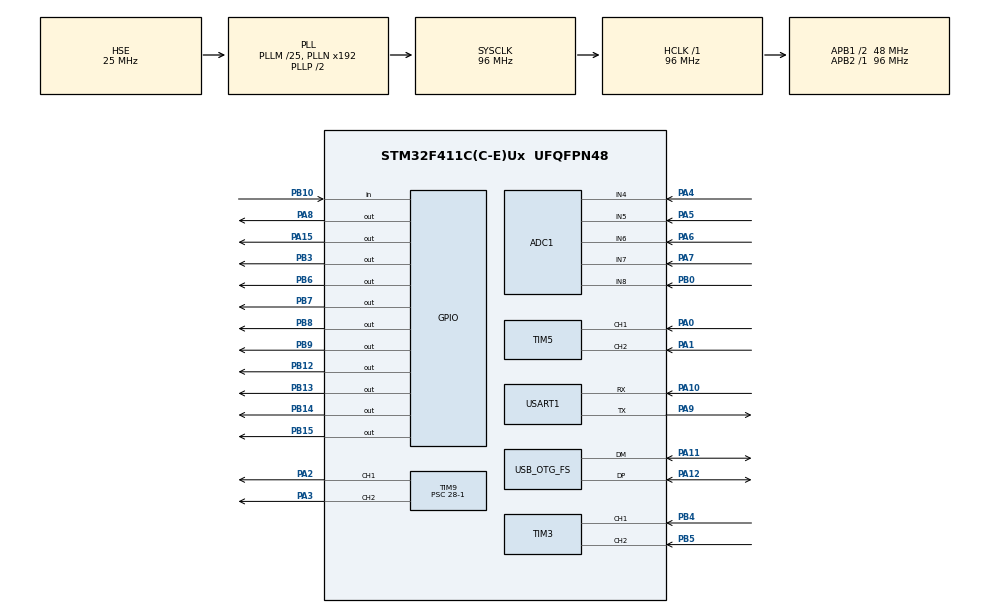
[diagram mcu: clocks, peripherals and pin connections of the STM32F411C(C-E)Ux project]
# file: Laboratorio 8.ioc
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ADC1.Channel-1\#ChannelRegularConversion=ADC_CHANNEL_4
ADC1.Channel-2\#ChannelRegularConversion=ADC_CHANNEL_5
ADC1.Channel-3\#ChannelRegularConversion=ADC_CHANNEL_6
ADC1.Channel-4\#ChannelRegularConversion=ADC_CHANNEL_7
ADC1.Channel-5\#ChannelRegularConversion=ADC_CHANNEL_8
ADC1.NbrOfConversion=5
ADC1.NbrOfConversionFlag=1
ADC1.Rank-1\#ChannelRegularConversion=1
ADC1.Rank-2\#ChannelRegularConversion=2
ADC1.Rank-3\#ChannelRegularConversion=3
ADC1.Rank-4\#ChannelRegularConversion=4
ADC1.Rank-5\#ChannelRegularConversion=5
ADC1.SamplingTime-1\#ChannelRegularConversion=ADC_SAMPLETIME_3CYCLES
ADC1.SamplingTime-2\#ChannelRegularConversion=ADC_SAMPLETIME_3CYCLES
ADC1.SamplingTime-3\#ChannelRegularConversion=ADC_SAMPLETIME_3CYCLES
ADC1.SamplingTime-4\#ChannelRegularConversion=ADC_SAMPLETIME_3CYCLES
ADC1.SamplingTime-5\#ChannelRegularConversion=ADC_SAMPLETIME_3CYCLES
ADC1.ScanConvMode=ENABLE
ADC1.master=1
Dma.ADC1.0.Direction=DMA_PERIPH_TO_MEMORY
Dma.ADC1.0.FIFOMode=DMA_FIFOMODE_DISABLE
Dma.ADC1.0.Instance=DMA2_Stream0
Dma.ADC1.0.MemDataAlignment=DMA_MDATAALIGN_HALFWORD
Dma.ADC1.0.MemInc=DMA_MINC_ENABLE
Dma.ADC1.0.Mode=DMA_CIRCULAR
Dma.ADC1.0.PeriphDataAlignment=DMA_PDATAALIGN_HALFWORD
Dma.ADC1.0.PeriphInc=DMA_PINC_DISABLE
Dma.ADC1.0.Priority=DMA_PRIORITY_LOW
Dma.Request0=ADC1
Mcu.Family=STM32F4
Mcu.Name=STM32F411C(C-E)Ux
Mcu.Package=UFQFPN48
NVIC.DMA2_Stream0_IRQn=true\:0\:0\:false\:false\:true\:false\:true\:true
NVIC.OTG_FS_IRQn=true\:0\:0\:false\:false\:true\:false\:true\:true
NVIC.PriorityGroup=NVIC_PRIORITYGROUP_4
NVIC.TIM4_IRQn=true\:0\:0\:false\:false\:true\:true\:true\:true
PA0-WKUP.Signal=S_TIM5_CH1
PA1.Signal=S_TIM5_CH2
PA10.Mode=Asynchronous
PA10.Signal=USART1_RX
PA11.Mode=Device_Only
PA11.Signal=USB_OTG_FS_DM
PA12.Mode=Device_Only
PA12.Signal=USB_OTG_FS_DP
PA13.Mode=Serial_Wire
PA13.Signal=SYS_JTMS-SWDIO
PA14.Mode=Serial_Wire
PA14.Signal=SYS_JTCK-SWCLK
PA15.Signal=GPIO_Output
PA2.Signal=S_TIM9_CH1
PA3.Signal=S_TIM9_CH2
PA4.Signal=ADCx_IN4
PA5.Signal=ADCx_IN5
PA6.Signal=ADCx_IN6
PA7.Signal=ADCx_IN7
PA8.Signal=GPIO_Output
PA9.Mode=Asynchronous
PA9.Signal=USART1_TX
PB0.Signal=ADCx_IN8
PB10.Signal=GPIO_Input
PB12.Signal=GPIO_Output
PB13.Signal=GPIO_Output
PB14.Signal=GPIO_Output
PB15.Signal=GPIO_Output
PB3.Signal=GPIO_Output
PB4.Signal=S_TIM3_CH1
PB5.Signal=S_TIM3_CH2
PB6.Signal=GPIO_Output
PB7.Signal=GPIO_Output
PB8.Signal=GPIO_Output
PB9.Signal=GPIO_Output
PH0\ -\ OSC_IN.Mode=HSE-External-Oscillator
PH0\ -\ OSC_IN.Signal=RCC_OSC_IN
PH1\ -\ OSC_OUT.Mode=HSE-External-Oscillator
PH1\ -\ OSC_OUT.Signal=RCC_OSC_OUT
ProjectManager.HeapSize=0x200
ProjectManager.StackSize=0x400
ProjectManager.TargetToolchain=STM32CubeIDE
RCC.48MHZClocksFreq_Value=48000000
RCC.AHBFreq_Value=96000000
RCC.APB1CLKDivider=RCC_HCLK_DIV2
RCC.APB1Freq_Value=48000000
RCC.APB1TimFreq_Value=96000000
RCC.APB2Freq_Value=96000000
RCC.APB2TimFreq_Value=96000000
RCC.CortexFreq_Value=96000000
RCC.HCLKFreq_Value=96000000
RCC.HSE_VALUE=25000000
RCC.HSI_VALUE=16000000
RCC.LSE_VALUE=32768
RCC.PLLM=25
RCC.SYSCLKFreq_VALUE=96000000
RCC.SYSCLKSource=RCC_SYSCLKSOURCE_PLLCLK
RCC.VCOOutputFreq_Value=192000000
SH.ADCx_IN4.0=ADC1_IN4,IN4
SH.ADCx_IN5.0=ADC1_IN5,IN5
SH.ADCx_IN6.0=ADC1_IN6,IN6
SH.ADCx_IN7.0=ADC1_IN7,IN7
SH.ADCx_IN8.0=ADC1_IN8,IN8
SH.S_TIM3_CH1.0=TIM3_CH1,Encoder_Interface
SH.S_TIM3_CH2.0=TIM3_CH2,Encoder_Interface
SH.S_TIM5_CH1.0=TIM5_CH1,Encoder_Interface
SH.S_TIM5_CH2.0=TIM5_CH2,Encoder_Interface
SH.S_TIM9_CH1.0=TIM9_CH1,PWM Generation1 CH1
SH.S_TIM9_CH2.0=TIM9_CH2,PWM Generation2 CH2
TIM1.Prescaler=48000-1
TIM2.Prescaler=48000-1
TIM3.EncoderMode=TIM_ENCODERMODE_TI12
TIM3.IC1Filter=15
TIM3.IC1Polarity=TIM_ICPOLARITY_FALLING
TIM3.IC2Filter=15
TIM3.IC2Polarity=TIM_ICPOLARITY_FALLING
TIM4.Period=20-1
TIM4.Prescaler=48000-1
TIM5.EncoderMode=TIM_ENCODERMODE_TI12
TIM5.IC1Filter=15
TIM5.IC1Polarity=TIM_ICPOLARITY_FALLING
TIM5.IC2Filter=15
TIM5.IC2Polarity=TIM_ICPOLARITY_FALLING
TIM9.Channel-PWM\ Generation1\ CH1=TIM_CHANNEL_1
TIM9.Channel-PWM\ Generation2\ CH2=TIM_CHANNEL_2
TIM9.Period=100-1
TIM9.Prescaler=28-1
USART1.VirtualMode=VM_ASYNC
USB_DEVICE.CLASS_NAME_FS=CDC
USB_DEVICE.VirtualMode=Cdc
USB_DEVICE.VirtualModeFS=Cdc_FS
USB_OTG_FS.VirtualMode=Device_Only
VP_TIM1_VS_ClockSourceINT.Mode=Internal
VP_TIM2_VS_ClockSourceINT.Mode=Internal
VP_TIM4_VS_ClockSourceINT.Mode=Internal
VP_TIM9_VS_ClockSourceINT.Mode=Internal
VP_USB_DEVICE_VS_USB_DEVICE_CDC_FS.Mode=CDC_FS
board=custom

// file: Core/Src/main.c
/* USER CODE BEGIN Header */
/**
  ******************************************************************************
  * @file           : main.c
  * @brief          : Main program body
  ******************************************************************************
  * @attention
  *
  * Copyright (c) 2025 STMicroelectronics.
  * All rights reserved.
  *
  * This software is licensed under terms that can be found in the LICENSE file
  * in the root directory of this software component.
  * If no LICENSE file comes with this software, it is provided AS-IS.
  *
  ******************************************************************************
  */
/* USER CODE END Header */
#include "main.h"
#include "usb_device.h"

/* USER CODE BEGIN Includes */
#include "usbd_cdc_if.h"
#include "motorDriver.h"
#include <math.h>
#include "comunicacion.h"
#include "velocidad.h"
#include "distancia.h"
#include "complemento.h"

/* USER CODE END Includes */

ADC_HandleTypeDef hadc1;
DMA_HandleTypeDef hdma_adc1;

TIM_HandleTypeDef htim1;
TIM_HandleTypeDef htim2;
TIM_HandleTypeDef htim3;
TIM_HandleTypeDef htim4;
TIM_HandleTypeDef htim5;
TIM_HandleTypeDef htim9;

UART_HandleTypeDef huart1;

void SystemClock_Config(void);
static void MX_GPIO_Init(void);
static void MX_DMA_Init(void);
static void MX_TIM2_Init(void);
static void MX_TIM3_Init(void);
static void MX_TIM5_Init(void);
static void MX_TIM9_Init(void);
static void MX_ADC1_Init(void);
static void MX_TIM4_Init(void);
static void MX_TIM1_Init(void);
static void MX_USART1_UART_Init(void);

/* USER CODE BEGIN 0 */

int32_t dir_mm;  //////////////////////////////// borrar
int32_t voltaje; //////////////////////////////// borrar

int32_t contador = 0;
uint32_t tiempo = 0;

uint32_t adcValue[5] = {0, 0, 0, 0, 0};
//uint16_t adcMM[5] = {0, 0, 0, 0, 0};
//float adcVoltaje[5] = {0, 0, 0, 0, 0};
//float adc_avg[5] = {0, 0, 0, 0, 0};

char texto[64];

//uint16_t adc_buffer[5][10] = {0};
//uint8_t adc_buffer_index = 0;

//uint16_t distancia_objetivo;
//uint16_t velocidad_objetivo;
//uint16_t aceleracion_objetivo;
//uint8_t bnd = 0;
//uint8_t bnd2 = 0;
//uint8_t bnd3 = 0;

uint16_t objetivo[6] = {0};
int16_t velocidades_calc[3] = {0};
float adc_prom[5] = {0};
float adc_volt[5] = {0};
uint16_t adc_dist[5] = {0};

volatile int32_t pulsos_izq_;
volatile int32_t pulsos_der_;
volatile int32_t pulsos_izq_ant = 0;
volatile int32_t pulsos_der_ant = 0;
volatile int32_t dif_der;
volatile int32_t dif_izq;

volatile uint8_t indexRX = 0;
volatile uint8_t datosRX[15];

volatile uint16_t contadorrr = 0;
volatile float prueba = 0.01;
volatile char txt[128];
uint8_t act_proc = 0;
Pose pose = {0};

//Pose pose;
/* USER CODE END 0 */

int main(void)
{

  /* MCU Configuration--------------------------------------------------------*/

  /* Reset of all peripherals, Initializes the Flash interface and the Systick. */
  HAL_Init();

  /* Configure the system clock */
  SystemClock_Config();

  /* Initialize all configured peripherals */
  MX_GPIO_Init();
  MX_DMA_Init();
  MX_TIM2_Init();
  MX_TIM3_Init();
  MX_USB_DEVICE_Init();
  MX_TIM5_Init();
  MX_TIM9_Init();
  MX_ADC1_Init();
  MX_TIM4_Init();
  MX_TIM1_Init();
  MX_USART1_UART_Init();
  /* USER CODE BEGIN 2 */

  motoresInit(&htim9, TIM_CHANNEL_1, TIM_CHANNEL_2);
  Encoder_1_Init(&htim5);
  Encoder_2_Init(&htim3);
  Tiempo_Init(&htim1);

  HAL_TIM_Base_Start(&htim2);
  HAL_TIM_Base_Start_IT(&htim4);

  HAL_ADC_Start_DMA(&hadc1, adcValue, 5);

  /* USER CODE END 2 */

  /* Infinite loop */
  /* USER CODE BEGIN WHILE */
  while (1)
  {

	  if (indexRX != 0) {
		  uint16_t *result = instruction(datosRX);
		  memcpy(objetivo, result, sizeof(objetivo));
		  indexRX = 0;
	  }

	  if (contadorrr >= 10) {
		  int16_t *vel = calculo_rpm();
		  memcpy(velocidades_calc, vel, sizeof(velocidades_calc));
		  contadorrr = 0;
	  }

	  contador = ((int32_t)__HAL_TIM_GET_COUNTER(&htim5)) /1431;
	  tiempo = (__HAL_TIM_GET_COUNTER(&htim2)/2);

	  calibracion();

	  float *prom = promedio_adc(adcValue);
	  memcpy(adc_prom, prom, sizeof(adc_prom));

	  float *volt = promedio_adc_v(adcValue);
	  memcpy(adc_volt, volt, sizeof(adc_volt));

	  uint16_t *dist = calculo_mm(adc_prom);
	  memcpy(adc_dist, dist, sizeof(adc_dist));

	  datos_enviar(velocidades_calc[0], contador, tiempo, velocidades_calc[1], velocidades_calc[2],
			  	  (uint16_t)adcValue[0], (uint16_t)adcValue[1], (uint16_t)adcValue[2],
				  (uint16_t)adcValue[3], adc_volt[0], adc_volt[1], adc_volt[2],
				  adc_volt[3], adc_dist[0], adc_dist[1], adc_dist[2], adc_dist[3]);

	  if((objetivo[1] == 1) && (objetivo[3] == 1) && (objetivo[5] == 1)){

		  if((HAL_GPIO_ReadPin(GPIOB, GPIO_PIN_10) == 0)){
			  uint32_t tiempo_cond = (__HAL_TIM_GET_COUNTER(&htim2)/2);
			  while((tiempo_cond + 5000) > (__HAL_TIM_GET_COUNTER(&htim2)/2)){
			  }

			  control_distancia(objetivo[0], objetivo[2], objetivo[4], pose.avanceLineal);

			  //objetivo[1] = 0;
			  //objetivo[3] = 0;
			  //objetivo[5] = 0;

			  datosRX[0] = 0;
			  act_proc = 1;
		  }

	  }

    /* USER CODE END WHILE */

  }
}

void SystemClock_Config(void)
{
  RCC_OscInitTypeDef RCC_OscInitStruct = {0};
  RCC_ClkInitTypeDef RCC_ClkInitStruct = {0};

  /** Configure the main internal regulator output voltage
  */
  __HAL_RCC_PWR_CLK_ENABLE();
  __HAL_PWR_VOLTAGESCALING_CONFIG(PWR_REGULATOR_VOLTAGE_SCALE1);

  /** Initializes the RCC Oscillators according to the specified parameters
  * in the RCC_OscInitTypeDef structure.
  */
  RCC_OscInitStruct.OscillatorType = RCC_OSCILLATORTYPE_HSE;
  RCC_OscInitStruct.HSEState = RCC_HSE_ON;
  RCC_OscInitStruct.PLL.PLLState = RCC_PLL_ON;
  RCC_OscInitStruct.PLL.PLLSource = RCC_PLLSOURCE_HSE;
  RCC_OscInitStruct.PLL.PLLM = 25;
  RCC_OscInitStruct.PLL.PLLN = 192;
  RCC_OscInitStruct.PLL.PLLP = RCC_PLLP_DIV2;
  RCC_OscInitStruct.PLL.PLLQ = 4;
  if (HAL_RCC_OscConfig(&RCC_OscInitStruct) != HAL_OK)
  {
    Error_Handler();
  }

  /** Initializes the CPU, AHB and APB buses clocks
  */
  RCC_ClkInitStruct.ClockType = RCC_CLOCKTYPE_HCLK|RCC_CLOCKTYPE_SYSCLK
                              |RCC_CLOCKTYPE_PCLK1|RCC_CLOCKTYPE_PCLK2;
  RCC_ClkInitStruct.SYSCLKSource = RCC_SYSCLKSOURCE_PLLCLK;
  RCC_ClkInitStruct.AHBCLKDivider = RCC_SYSCLK_DIV1;
  RCC_ClkInitStruct.APB1CLKDivider = RCC_HCLK_DIV2;
  RCC_ClkInitStruct.APB2CLKDivider = RCC_HCLK_DIV1;

  if (HAL_RCC_ClockConfig(&RCC_ClkInitStruct, FLASH_LATENCY_3) != HAL_OK)
  {
    Error_Handler();
  }
}

static void MX_ADC1_Init(void)
{

  ADC_ChannelConfTypeDef sConfig = {0};

  /** Configure the global features of the ADC (Clock, Resolution, Data Alignment and number of conversion)
  */
  hadc1.Instance = ADC1;
  hadc1.Init.ClockPrescaler = ADC_CLOCK_SYNC_PCLK_DIV4;
  hadc1.Init.Resolution = ADC_RESOLUTION_12B;
  hadc1.Init.ScanConvMode = ENABLE;
  hadc1.Init.ContinuousConvMode = DISABLE;
  hadc1.Init.DiscontinuousConvMode = DISABLE;
  hadc1.Init.ExternalTrigConvEdge = ADC_EXTERNALTRIGCONVEDGE_NONE;
  hadc1.Init.ExternalTrigConv = ADC_SOFTWARE_START;
  hadc1.Init.DataAlign = ADC_DATAALIGN_RIGHT;
  hadc1.Init.NbrOfConversion = 5;
  hadc1.Init.DMAContinuousRequests = DISABLE;
  hadc1.Init.EOCSelection = ADC_EOC_SINGLE_CONV;
  if (HAL_ADC_Init(&hadc1) != HAL_OK)
  {
    Error_Handler();
  }

  /** Configure for the selected ADC regular channel its corresponding rank in the sequencer and its sample time.
  */
  sConfig.Channel = ADC_CHANNEL_4;
  sConfig.Rank = 1;
  sConfig.SamplingTime = ADC_SAMPLETIME_3CYCLES;
  if (HAL_ADC_ConfigChannel(&hadc1, &sConfig) != HAL_OK)
  {
    Error_Handler();
  }

  /** Configure for the selected ADC regular channel its corresponding rank in the sequencer and its sample time.
  */
  sConfig.Channel = ADC_CHANNEL_5;
  sConfig.Rank = 2;
  if (HAL_ADC_ConfigChannel(&hadc1, &sConfig) != HAL_OK)
  {
    Error_Handler();
  }

  /** Configure for the selected ADC regular channel its corresponding rank in the sequencer and its sample time.
  */
  sConfig.Channel = ADC_CHANNEL_6;
  sConfig.Rank = 3;
  if (HAL_ADC_ConfigChannel(&hadc1, &sConfig) != HAL_OK)
  {
    Error_Handler();
  }

  /** Configure for the selected ADC regular channel its corresponding rank in the sequencer and its sample time.
  */
  sConfig.Channel = ADC_CHANNEL_7;
  sConfig.Rank = 4;
  if (HAL_ADC_ConfigChannel(&hadc1, &sConfig) != HAL_OK)
  {
    Error_Handler();
  }

  /** Configure for the selected ADC regular channel its corresponding rank in the sequencer and its sample time.
  */
  sConfig.Channel = ADC_CHANNEL_8;
  sConfig.Rank = 5;
  if (HAL_ADC_ConfigChannel(&hadc1, &sConfig) != HAL_OK)
  {
    Error_Handler();
  }

}

static void MX_TIM1_Init(void)
{

  TIM_ClockConfigTypeDef sClockSourceConfig = {0};
  TIM_MasterConfigTypeDef sMasterConfig = {0};

  htim1.Instance = TIM1;
  htim1.Init.Prescaler = 48000-1;
  htim1.Init.CounterMode = TIM_COUNTERMODE_UP;
  htim1.Init.Period = 65535;
  htim1.Init.ClockDivision = TIM_CLOCKDIVISION_DIV1;
  htim1.Init.RepetitionCounter = 0;
  htim1.Init.AutoReloadPreload = TIM_AUTORELOAD_PRELOAD_DISABLE;
  if (HAL_TIM_Base_Init(&htim1) != HAL_OK)
  {
    Error_Handler();
  }
  sClockSourceConfig.ClockSource = TIM_CLOCKSOURCE_INTERNAL;
  if (HAL_TIM_ConfigClockSource(&htim1, &sClockSourceConfig) != HAL_OK)
  {
    Error_Handler();
  }
  sMasterConfig.MasterOutputTrigger = TIM_TRGO_RESET;
  sMasterConfig.MasterSlaveMode = TIM_MASTERSLAVEMODE_DISABLE;
  if (HAL_TIMEx_MasterConfigSynchronization(&htim1, &sMasterConfig) != HAL_OK)
  {
    Error_Handler();
  }

}

static void MX_TIM2_Init(void)
{

  TIM_ClockConfigTypeDef sClockSourceConfig = {0};
  TIM_MasterConfigTypeDef sMasterConfig = {0};

  htim2.Instance = TIM2;
  htim2.Init.Prescaler = 48000-1;
  htim2.Init.CounterMode = TIM_COUNTERMODE_UP;
  htim2.Init.Period = 4294967295;
  htim2.Init.ClockDivision = TIM_CLOCKDIVISION_DIV1;
  htim2.Init.AutoReloadPreload = TIM_AUTORELOAD_PRELOAD_DISABLE;
  if (HAL_TIM_Base_Init(&htim2) != HAL_OK)
  {
    Error_Handler();
  }
  sClockSourceConfig.ClockSource = TIM_CLOCKSOURCE_INTERNAL;
  if (HAL_TIM_ConfigClockSource(&htim2, &sClockSourceConfig) != HAL_OK)
  {
    Error_Handler();
  }
  sMasterConfig.MasterOutputTrigger = TIM_TRGO_RESET;
  sMasterConfig.MasterSlaveMode = TIM_MASTERSLAVEMODE_DISABLE;
  if (HAL_TIMEx_MasterConfigSynchronization(&htim2, &sMasterConfig) != HAL_OK)
  {
    Error_Handler();
  }

}

static void MX_TIM3_Init(void)
{

  TIM_Encoder_InitTypeDef sConfig = {0};
  TIM_MasterConfigTypeDef sMasterConfig = {0};

  htim3.Instance = TIM3;
  htim3.Init.Prescaler = 0;
  htim3.Init.CounterMode = TIM_COUNTERMODE_UP;
  htim3.Init.Period = 65535;
  htim3.Init.ClockDivision = TIM_CLOCKDIVISION_DIV1;
  htim3.Init.AutoReloadPreload = TIM_AUTORELOAD_PRELOAD_DISABLE;
  sConfig.EncoderMode = TIM_ENCODERMODE_TI12;
  sConfig.IC1Polarity = TIM_ICPOLARITY_FALLING;
  sConfig.IC1Selection = TIM_ICSELECTION_DIRECTTI;
  sConfig.IC1Prescaler = TIM_ICPSC_DIV1;
  sConfig.IC1Filter = 15;
  sConfig.IC2Polarity = TIM_ICPOLARITY_FALLING;
  sConfig.IC2Selection = TIM_ICSELECTION_DIRECTTI;
  sConfig.IC2Prescaler = TIM_ICPSC_DIV1;
  sConfig.IC2Filter = 15;
  if (HAL_TIM_Encoder_Init(&htim3, &sConfig) != HAL_OK)
  {
    Error_Handler();
  }
  sMasterConfig.MasterOutputTrigger = TIM_TRGO_RESET;
  sMasterConfig.MasterSlaveMode = TIM_MASTERSLAVEMODE_DISABLE;
  if (HAL_TIMEx_MasterConfigSynchronization(&htim3, &sMasterConfig) != HAL_OK)
  {
    Error_Handler();
  }

}

static void MX_TIM4_Init(void)
{

  TIM_ClockConfigTypeDef sClockSourceConfig = {0};
  TIM_MasterConfigTypeDef sMasterConfig = {0};

  htim4.Instance = TIM4;
  htim4.Init.Prescaler = 48000-1;
  htim4.Init.CounterMode = TIM_COUNTERMODE_UP;
  htim4.Init.Period = 20-1;
  htim4.Init.ClockDivision = TIM_CLOCKDIVISION_DIV1;
  htim4.Init.AutoReloadPreload = TIM_AUTORELOAD_PRELOAD_DISABLE;
  if (HAL_TIM_Base_Init(&htim4) != HAL_OK)
  {
    Error_Handler();
  }
  sClockSourceConfig.ClockSource = TIM_CLOCKSOURCE_INTERNAL;
  if (HAL_TIM_ConfigClockSource(&htim4, &sClockSourceConfig) != HAL_OK)
  {
    Error_Handler();
  }
  sMasterConfig.MasterOutputTrigger = TIM_TRGO_RESET;
  sMasterConfig.MasterSlaveMode = TIM_MASTERSLAVEMODE_DISABLE;
  if (HAL_TIMEx_MasterConfigSynchronization(&htim4, &sMasterConfig) != HAL_OK)
  {
    Error_Handler();
  }

}

static void MX_TIM5_Init(void)
{

  TIM_Encoder_InitTypeDef sConfig = {0};
  TIM_MasterConfigTypeDef sMasterConfig = {0};

  htim5.Instance = TIM5;
  htim5.Init.Prescaler = 0;
  htim5.Init.CounterMode = TIM_COUNTERMODE_UP;
  htim5.Init.Period = 4294967295;
  htim5.Init.ClockDivision = TIM_CLOCKDIVISION_DIV1;
  htim5.Init.AutoReloadPreload = TIM_AUTORELOAD_PRELOAD_DISABLE;
  sConfig.EncoderMode = TIM_ENCODERMODE_TI12;
  sConfig.IC1Polarity = TIM_ICPOLARITY_FALLING;
  sConfig.IC1Selection = TIM_ICSELECTION_DIRECTTI;
  sConfig.IC1Prescaler = TIM_ICPSC_DIV1;
  sConfig.IC1Filter = 15;
  sConfig.IC2Polarity = TIM_ICPOLARITY_FALLING;
  sConfig.IC2Selection = TIM_ICSELECTION_DIRECTTI;
  sConfig.IC2Prescaler = TIM_ICPSC_DIV1;
  sConfig.IC2Filter = 15;
  if (HAL_TIM_Encoder_Init(&htim5, &sConfig) != HAL_OK)
  {
    Error_Handler();
  }
  sMasterConfig.MasterOutputTrigger = TIM_TRGO_RESET;
  sMasterConfig.MasterSlaveMode = TIM_MASTERSLAVEMODE_DISABLE;
  if (HAL_TIMEx_MasterConfigSynchronization(&htim5, &sMasterConfig) != HAL_OK)
  {
    Error_Handler();
  }

}

static void MX_TIM9_Init(void)
{

  TIM_ClockConfigTypeDef sClockSourceConfig = {0};
  TIM_OC_InitTypeDef sConfigOC = {0};

  htim9.Instance = TIM9;
  htim9.Init.Prescaler = 28-1;
  htim9.Init.CounterMode = TIM_COUNTERMODE_UP;
  htim9.Init.Period = 100-1;
  htim9.Init.ClockDivision = TIM_CLOCKDIVISION_DIV1;
  htim9.Init.AutoReloadPreload = TIM_AUTORELOAD_PRELOAD_DISABLE;
  if (HAL_TIM_Base_Init(&htim9) != HAL_OK)
  {
    Error_Handler();
  }
  sClockSourceConfig.ClockSource = TIM_CLOCKSOURCE_INTERNAL;
  if (HAL_TIM_ConfigClockSource(&htim9, &sClockSourceConfig) != HAL_OK)
  {
    Error_Handler();
  }
  if (HAL_TIM_PWM_Init(&htim9) != HAL_OK)
  {
    Error_Handler();
  }
  sConfigOC.OCMode = TIM_OCMODE_PWM1;
  sConfigOC.Pulse = 0;
  sConfigOC.OCPolarity = TIM_OCPOLARITY_HIGH;
  sConfigOC.OCFastMode = TIM_OCFAST_DISABLE;
  if (HAL_TIM_PWM_ConfigChannel(&htim9, &sConfigOC, TIM_CHANNEL_1) != HAL_OK)
  {
    Error_Handler();
  }
  if (HAL_TIM_PWM_ConfigChannel(&htim9, &sConfigOC, TIM_CHANNEL_2) != HAL_OK)
  {
    Error_Handler();
  }
  HAL_TIM_MspPostInit(&htim9);

}

static void MX_USART1_UART_Init(void)
{

  huart1.Instance = USART1;
  huart1.Init.BaudRate = 115200;
  huart1.Init.WordLength = UART_WORDLENGTH_8B;
  huart1.Init.StopBits = UART_STOPBITS_1;
  huart1.Init.Parity = UART_PARITY_NONE;
  huart1.Init.Mode = UART_MODE_TX_RX;
  huart1.Init.HwFlowCtl = UART_HWCONTROL_NONE;
  huart1.Init.OverSampling = UART_OVERSAMPLING_16;
  if (HAL_UART_Init(&huart1) != HAL_OK)
  {
    Error_Handler();
  }

}

static void MX_DMA_Init(void)
{

  /* DMA controller clock enable */
  __HAL_RCC_DMA2_CLK_ENABLE();

  /* DMA interrupt init */
  /* DMA2_Stream0_IRQn interrupt configuration */
  HAL_NVIC_SetPriority(DMA2_Stream0_IRQn, 0, 0);
  HAL_NVIC_EnableIRQ(DMA2_Stream0_IRQn);

}

static void MX_GPIO_Init(void)
{
  GPIO_InitTypeDef GPIO_InitStruct = {0};

  /* GPIO Ports Clock Enable */
  __HAL_RCC_GPIOH_CLK_ENABLE();
  __HAL_RCC_GPIOA_CLK_ENABLE();
  __HAL_RCC_GPIOB_CLK_ENABLE();

  /*Configure GPIO pin Output Level */
  HAL_GPIO_WritePin(GPIOB, GPIO_PIN_12|GPIO_PIN_13|GPIO_PIN_14|GPIO_PIN_15
                          |GPIO_PIN_3|GPIO_PIN_6|GPIO_PIN_7|GPIO_PIN_8
                          |GPIO_PIN_9, GPIO_PIN_RESET);

  /*Configure GPIO pin Output Level */
  HAL_GPIO_WritePin(GPIOA, GPIO_PIN_8|GPIO_PIN_15, GPIO_PIN_RESET);

  /*Configure GPIO pin : PB10 */
  GPIO_InitStruct.Pin = GPIO_PIN_10;
  GPIO_InitStruct.Mode = GPIO_MODE_INPUT;
  GPIO_InitStruct.Pull = GPIO_NOPULL;
  HAL_GPIO_Init(GPIOB, &GPIO_InitStruct);

  /*Configure GPIO pins : PB12 PB13 PB14 PB15
                           PB3 PB6 PB7 PB8
                           PB9 */
  GPIO_InitStruct.Pin = GPIO_PIN_12|GPIO_PIN_13|GPIO_PIN_14|GPIO_PIN_15
                          |GPIO_PIN_3|GPIO_PIN_6|GPIO_PIN_7|GPIO_PIN_8
                          |GPIO_PIN_9;
  GPIO_InitStruct.Mode = GPIO_MODE_OUTPUT_PP;
  GPIO_InitStruct.Pull = GPIO_NOPULL;
  GPIO_InitStruct.Speed = GPIO_SPEED_FREQ_LOW;
  HAL_GPIO_Init(GPIOB, &GPIO_InitStruct);

  /*Configure GPIO pins : PA8 PA15 */
  GPIO_InitStruct.Pin = GPIO_PIN_8|GPIO_PIN_15;
  GPIO_InitStruct.Mode = GPIO_MODE_OUTPUT_PP;
  GPIO_InitStruct.Pull = GPIO_NOPULL;
  GPIO_InitStruct.Speed = GPIO_SPEED_FREQ_LOW;
  HAL_GPIO_Init(GPIOA, &GPIO_InitStruct);

}

/* USER CODE BEGIN 4 */
void HAL_ADC_ConvCpltCallback(ADC_HandleTypeDef *hadc)
{
	//promedio_adc();
	HAL_ADC_Start_DMA(&hadc1, adcValue, 5);
}

void CDC_ReceiveCallBack(uint8_t* Buf, uint32_t Len) {

	memcpy(datosRX, Buf, Len);
    indexRX = Len;
}

void HAL_TIM_PeriodElapsedCallback(TIM_HandleTypeDef *htim) {
    if (htim->Instance == TIM4) {

    	pulsos_izq_ = (int32_t)__HAL_TIM_GET_COUNTER(&htim5);
        pulsos_der_ = (int32_t)__HAL_TIM_GET_COUNTER(&htim3);

        dif_izq = pulsos_izq_ - pulsos_izq_ant;
        dif_der = pulsos_der_ - pulsos_der_ant;

        pulsos_izq_ant = pulsos_izq_;
        pulsos_der_ant = pulsos_der_;

        contadorrr +=1;

        updatePose(&pose, dif_izq, dif_der, prueba);

        if (act_proc == 1) {
			float vel_deseada = actualizar_velocidad_trapezoidal(pose.avanceLineal);
			int8_t val = (int8_t)conversor_mm_s((int32_t)vel_deseada); // Enviar velocidad deseada al controlador de motores
			motores(val,val);

			if (destino_alcanzado(pose.avanceLineal)) {
				act_proc = 0; // Detener el proceso cuando se alcanza el destino
				val = conversor_mm_s(0); // Detener los motores
				motores(val,val);
			}
		}

		sprintf(txt, ">dL:%.2f\n>dR:%.2f\n>vL:%.2f\n>vR:%.2f\n", dif_izq, dif_der, pose.velMotorL, pose.velMotorR);
		CDC_Transmit_FS(txt, strlen(txt));

    }
}

/* USER CODE END 4 */

void Error_Handler(void)
{
  __disable_irq();
  while (1)
  {
  }
}
